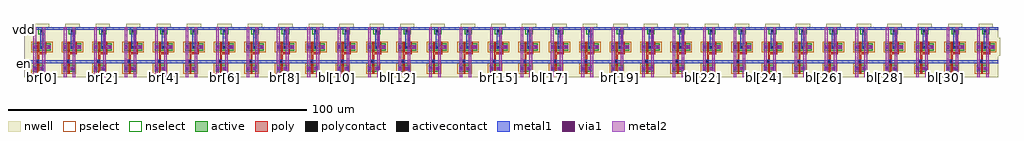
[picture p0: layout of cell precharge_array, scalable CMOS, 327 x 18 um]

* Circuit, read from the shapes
.subckt precharge_array bl[0] bl[10] bl[11] bl[12] bl[13] bl[14] bl[15] bl[16] bl[17] bl[18] bl[19] bl[1] bl[20] bl[21] bl[22] bl[23] bl[24] bl[25] bl[26] bl[27] bl[28] bl[29] bl[2] bl[30] bl[31] bl[3] bl[4] bl[5] bl[6] bl[7] bl[8] bl[9] br[0] br[10] br[11] br[12] br[13] br[14] br[15] br[16] br[17] br[18] br[19] br[1] br[20] br[21] br[22] br[23] br[24] br[25] br[26] br[27] br[28] br[29] br[2] br[30] br[31] br[3] br[4] br[5] br[6] br[7] br[8] br[9] en vdd
M1 br[0] en bl[0] vdd pfet w=2.4u l=0.6u
M2 vdd en bl[0] vdd pfet w=2.4u l=0.6u
M3 br[0] en vdd vdd pfet w=2.4u l=0.6u
M4 br[1] en bl[1] vdd pfet w=2.4u l=0.6u
M5 vdd en bl[1] vdd pfet w=2.4u l=0.6u
M6 br[1] en vdd vdd pfet w=2.4u l=0.6u
M7 br[2] en bl[2] vdd pfet w=2.4u l=0.6u
M8 vdd en bl[2] vdd pfet w=2.4u l=0.6u
M9 br[2] en vdd vdd pfet w=2.4u l=0.6u
M10 br[3] en bl[3] vdd pfet w=2.4u l=0.6u
M11 vdd en bl[3] vdd pfet w=2.4u l=0.6u
M12 br[3] en vdd vdd pfet w=2.4u l=0.6u
M13 br[4] en bl[4] vdd pfet w=2.4u l=0.6u
M14 vdd en bl[4] vdd pfet w=2.4u l=0.6u
M15 br[4] en vdd vdd pfet w=2.4u l=0.6u
M16 br[5] en bl[5] vdd pfet w=2.4u l=0.6u
M17 vdd en bl[5] vdd pfet w=2.4u l=0.6u
M18 br[5] en vdd vdd pfet w=2.4u l=0.6u
M19 br[6] en bl[6] vdd pfet w=2.4u l=0.6u
M20 vdd en bl[6] vdd pfet w=2.4u l=0.6u
M21 br[6] en vdd vdd pfet w=2.4u l=0.6u
M22 br[7] en bl[7] vdd pfet w=2.4u l=0.6u
M23 vdd en bl[7] vdd pfet w=2.4u l=0.6u
M24 br[7] en vdd vdd pfet w=2.4u l=0.6u
M25 br[8] en bl[8] vdd pfet w=2.4u l=0.6u
M26 vdd en bl[8] vdd pfet w=2.4u l=0.6u
M27 br[8] en vdd vdd pfet w=2.4u l=0.6u
M28 br[9] en bl[9] vdd pfet w=2.4u l=0.6u
M29 vdd en bl[9] vdd pfet w=2.4u l=0.6u
M30 br[9] en vdd vdd pfet w=2.4u l=0.6u
M31 br[10] en bl[10] vdd pfet w=2.4u l=0.6u
M32 vdd en bl[10] vdd pfet w=2.4u l=0.6u
M33 br[10] en vdd vdd pfet w=2.4u l=0.6u
M34 br[11] en bl[11] vdd pfet w=2.4u l=0.6u
M35 vdd en bl[11] vdd pfet w=2.4u l=0.6u
M36 br[11] en vdd vdd pfet w=2.4u l=0.6u
M37 br[12] en bl[12] vdd pfet w=2.4u l=0.6u
M38 vdd en bl[12] vdd pfet w=2.4u l=0.6u
M39 br[12] en vdd vdd pfet w=2.4u l=0.6u
M40 br[13] en bl[13] vdd pfet w=2.4u l=0.6u
M41 vdd en bl[13] vdd pfet w=2.4u l=0.6u
M42 br[13] en vdd vdd pfet w=2.4u l=0.6u
M43 br[14] en bl[14] vdd pfet w=2.4u l=0.6u
M44 vdd en bl[14] vdd pfet w=2.4u l=0.6u
M45 br[14] en vdd vdd pfet w=2.4u l=0.6u
M46 br[15] en bl[15] vdd pfet w=2.4u l=0.6u
M47 vdd en bl[15] vdd pfet w=2.4u l=0.6u
M48 br[15] en vdd vdd pfet w=2.4u l=0.6u
M49 br[16] en bl[16] vdd pfet w=2.4u l=0.6u
M50 vdd en bl[16] vdd pfet w=2.4u l=0.6u
M51 br[16] en vdd vdd pfet w=2.4u l=0.6u
M52 br[17] en bl[17] vdd pfet w=2.4u l=0.6u
M53 vdd en bl[17] vdd pfet w=2.4u l=0.6u
M54 br[17] en vdd vdd pfet w=2.4u l=0.6u
M55 br[18] en bl[18] vdd pfet w=2.4u l=0.6u
M56 vdd en bl[18] vdd pfet w=2.4u l=0.6u
M57 br[18] en vdd vdd pfet w=2.4u l=0.6u
M58 br[19] en bl[19] vdd pfet w=2.4u l=0.6u
M59 vdd en bl[19] vdd pfet w=2.4u l=0.6u
M60 br[19] en vdd vdd pfet w=2.4u l=0.6u
M61 br[20] en bl[20] vdd pfet w=2.4u l=0.6u
M62 vdd en bl[20] vdd pfet w=2.4u l=0.6u
M63 br[20] en vdd vdd pfet w=2.4u l=0.6u
M64 br[21] en bl[21] vdd pfet w=2.4u l=0.6u
M65 vdd en bl[21] vdd pfet w=2.4u l=0.6u
M66 br[21] en vdd vdd pfet w=2.4u l=0.6u
M67 br[22] en bl[22] vdd pfet w=2.4u l=0.6u
M68 vdd en bl[22] vdd pfet w=2.4u l=0.6u
M69 br[22] en vdd vdd pfet w=2.4u l=0.6u
M70 br[23] en bl[23] vdd pfet w=2.4u l=0.6u
M71 vdd en bl[23] vdd pfet w=2.4u l=0.6u
M72 br[23] en vdd vdd pfet w=2.4u l=0.6u
M73 br[24] en bl[24] vdd pfet w=2.4u l=0.6u
M74 vdd en bl[24] vdd pfet w=2.4u l=0.6u
M75 br[24] en vdd vdd pfet w=2.4u l=0.6u
M76 br[25] en bl[25] vdd pfet w=2.4u l=0.6u
M77 vdd en bl[25] vdd pfet w=2.4u l=0.6u
M78 br[25] en vdd vdd pfet w=2.4u l=0.6u
M79 br[26] en bl[26] vdd pfet w=2.4u l=0.6u
M80 vdd en bl[26] vdd pfet w=2.4u l=0.6u
M81 br[26] en vdd vdd pfet w=2.4u l=0.6u
M82 br[27] en bl[27] vdd pfet w=2.4u l=0.6u
M83 vdd en bl[27] vdd pfet w=2.4u l=0.6u
M84 br[27] en vdd vdd pfet w=2.4u l=0.6u
M85 br[28] en bl[28] vdd pfet w=2.4u l=0.6u
M86 vdd en bl[28] vdd pfet w=2.4u l=0.6u
M87 br[28] en vdd vdd pfet w=2.4u l=0.6u
M88 br[29] en bl[29] vdd pfet w=2.4u l=0.6u
M89 vdd en bl[29] vdd pfet w=2.4u l=0.6u
M90 br[29] en vdd vdd pfet w=2.4u l=0.6u
M91 br[30] en bl[30] vdd pfet w=2.4u l=0.6u
M92 vdd en bl[30] vdd pfet w=2.4u l=0.6u
M93 br[30] en vdd vdd pfet w=2.4u l=0.6u
M94 br[31] en bl[31] vdd pfet w=2.4u l=0.6u
M95 vdd en bl[31] vdd pfet w=2.4u l=0.6u
M96 br[31] en vdd vdd pfet w=2.4u l=0.6u
.ends

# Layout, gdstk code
from math import pi, radians
import gdstk
lib = gdstk.Library(unit=1e-6, precision=1e-09)
def R(c, l, rs):  # rectangles x0, y0, x1, y1
    for r in rs: c.add(gdstk.rectangle(r[:2], r[2:], *l))
nwell = (42, 0)
active = (43, 0)
pselect = (44, 0)
nselect = (45, 0)
poly = (46, 0)
polycontact = (47, 0)
activecontact = (48, 0)
metal1 = (49, 0)
via1 = (50, 0)
metal2 = (51, 0)

active_contact_metal1_1x = lib.new_cell('active_contact_metal1_1x1_pn')
R(active_contact_metal1_1x, nwell, [(-1.8,-1.8,3,3), (-1.8,-1.8,3,3)])
R(active_contact_metal1_1x, active, [(0,0,1.2,1.2), (0,0,1.2,1.2)])
R(active_contact_metal1_1x, pselect, [(-0.6,-0.6,1.8,1.8), (-0.6,-0.6,1.8,1.8)])
R(active_contact_metal1_1x, activecontact, [(0.3,0.3,0.9,0.9), (0.3,0.3,0.9,0.9)])
R(active_contact_metal1_1x, metal1, [(0,0,1.2,1.2), (0,0,1.2,1.2)])

pmos_m1_w2_4 = lib.new_cell('pmos_m1_w2_4')
R(pmos_m1_w2_4, nwell, [(-1.8,-1.8,5.4,4.2), (-1.8,-1.8,5.4,4.2)])
R(pmos_m1_w2_4, active, [(0,0,3.6,2.4), (0,0,3.6,2.4)])
R(pmos_m1_w2_4, pselect, [(-0.6,-0.6,4.2,3), (-0.6,-0.6,4.2,3)])
R(pmos_m1_w2_4, poly, [(1.5,-0.6,2.1,3), (1.5,-0.6,2.1,3), (1.5,-0.6,2.1,3), (1.5,-0.6,2.1,3)])
R(pmos_m1_w2_4, metal1, [(0,0.6,1.2,1.8), (0,0.6,1.2,1.8), (2.4,0.6,3.6,1.8), (2.4,0.6,3.6,1.8)])
pmos_m1_w2_4.add(gdstk.Reference(active_contact_metal1_1x, (0,0.6)))
pmos_m1_w2_4.add(gdstk.Reference(active_contact_metal1_1x, (2.4,0.6)))
pmos_m1_w2_4.add(gdstk.Reference(active_contact_metal1_1x, (0,0.6)))
pmos_m1_w2_4.add(gdstk.Reference(active_contact_metal1_1x, (2.4,0.6)))
pmos_m1_w2_4.add(gdstk.Label('S', (0,0.6), layer=49, texttype=0))
pmos_m1_w2_4.add(gdstk.Label('D', (2.4,0.6), layer=49, texttype=0))
pmos_m1_w2_4.add(gdstk.Label('G', (1.5,-0.6), layer=46, texttype=0))
pmos_m1_w2_4.add(gdstk.Label('S', (0,0.6), layer=49, texttype=0))
pmos_m1_w2_4.add(gdstk.Label('D', (2.4,0.6), layer=49, texttype=0))
pmos_m1_w2_4.add(gdstk.Label('G', (1.5,-0.6), layer=46, texttype=0))

poly_contact_metal1_1x1 = lib.new_cell('poly_contact_metal1_1x1')
R(poly_contact_metal1_1x1, poly, [(0,0,1.2,1.2), (0,0,1.2,1.2)])
R(poly_contact_metal1_1x1, polycontact, [(0.3,0.3,0.9,0.9), (0.3,0.3,0.9,0.9)])
R(poly_contact_metal1_1x1, metal1, [(0,0,1.2,1.2), (0,0,1.2,1.2)])

c_active_contact_metal1_1x = lib.new_cell('active_contact_metal1_1x1_nn')
R(c_active_contact_metal1_1x, nwell, [(-1.8,-1.8,3,3), (-1.8,-1.8,3,3)])
R(c_active_contact_metal1_1x, active, [(0,0,1.2,1.2), (0,0,1.2,1.2)])
R(c_active_contact_metal1_1x, nselect, [(-0.6,-0.6,1.8,1.8), (-0.6,-0.6,1.8,1.8)])
R(c_active_contact_metal1_1x, activecontact, [(0.3,0.3,0.9,0.9), (0.3,0.3,0.9,0.9)])
R(c_active_contact_metal1_1x, metal1, [(0,0,1.2,1.2), (0,0,1.2,1.2)])

metal1_via1_metal2_1x1 = lib.new_cell('metal1_via1_metal2_1x1')
R(metal1_via1_metal2_1x1, metal1, [(0,0,1.2,1.2), (0,0,1.2,1.2)])
R(metal1_via1_metal2_1x1, via1, [(0.3,0.3,0.9,0.9), (0.3,0.3,0.9,0.9)])
R(metal1_via1_metal2_1x1, metal2, [(0,0,1.2,1.2), (0,0,1.2,1.2)])

precharge = lib.new_cell('precharge')
R(precharge, nwell, [(0,0,10.2,16.8), (0,0,10.2,16.8)])
R(precharge, poly, [(4.5,1.2,5.1,8.4), (4.5,1.2,5.1,8.4), (4.5,7.8,7.5,8.4), (4.5,7.8,7.5,8.4)])
R(precharge, metal1, [(0,4.8,10.2,5.7), (0,4.8,10.2,5.7), (5.4,9.6,6.6,16.8), (5.4,9.6,6.6,16.8), (0,15.9,10.2,16.8), (0,15.9,10.2,16.8)])
R(precharge, metal2, [(3.15,0,4.05,16.8), (3.15,0,4.05,16.8), (6.15,0,7.05,16.8), (6.15,0,7.05,16.8), (3,2.4,4.2,3.6), (3,2.4,4.2,3.6), (5.4,2.4,7.05,3.6), (5.4,2.4,7.05,3.6), (3,9.6,4.2,10.8), (3,9.6,4.2,10.8), (6.15,9.6,9,10.8), (6.15,9.6,9,10.8)])
precharge.add(gdstk.Reference(pmos_m1_w2_4, (3,1.8)))
precharge.add(gdstk.Reference(pmos_m1_w2_4, (3,9)))
precharge.add(gdstk.Reference(pmos_m1_w2_4, (5.4,9)))
precharge.add(gdstk.Reference(poly_contact_metal1_1x1, (5.1,4.65), rotation=pi/2))
precharge.add(gdstk.Reference(c_active_contact_metal1_1x, (5.4,15)))
precharge.add(gdstk.Reference(metal1_via1_metal2_1x1, (3,2.4)))
precharge.add(gdstk.Reference(metal1_via1_metal2_1x1, (5.4,2.4)))
precharge.add(gdstk.Reference(metal1_via1_metal2_1x1, (3,9.6)))
precharge.add(gdstk.Reference(metal1_via1_metal2_1x1, (7.8,9.6)))
precharge.add(gdstk.Reference(pmos_m1_w2_4, (3,1.8)))
precharge.add(gdstk.Reference(pmos_m1_w2_4, (3,9)))
precharge.add(gdstk.Reference(pmos_m1_w2_4, (5.4,9)))
precharge.add(gdstk.Reference(poly_contact_metal1_1x1, (5.1,4.65), rotation=pi/2))
precharge.add(gdstk.Reference(c_active_contact_metal1_1x, (5.4,15)))
precharge.add(gdstk.Reference(metal1_via1_metal2_1x1, (3,2.4)))
precharge.add(gdstk.Reference(metal1_via1_metal2_1x1, (5.4,2.4)))
precharge.add(gdstk.Reference(metal1_via1_metal2_1x1, (3,9.6)))
precharge.add(gdstk.Reference(metal1_via1_metal2_1x1, (7.8,9.6)))
precharge.add(gdstk.Label('bl', (3.15,0), layer=51, texttype=0))
precharge.add(gdstk.Label('en', (0,4.8), layer=49, texttype=0))
precharge.add(gdstk.Label('vdd', (0,15.9), layer=49, texttype=0))
precharge.add(gdstk.Label('br', (6.15,0), layer=51, texttype=0))
precharge.add(gdstk.Label('bl', (3.15,0), layer=51, texttype=0))
precharge.add(gdstk.Label('en', (0,4.8), layer=49, texttype=0))
precharge.add(gdstk.Label('vdd', (0,15.9), layer=49, texttype=0))
precharge.add(gdstk.Label('br', (6.15,0), layer=51, texttype=0))

precharge_array = lib.new_cell('precharge_array')
R(precharge_array, metal1, [(0,4.8,326.4,5.7), (0,4.8,326.4,5.7), (0,15.9,326.4,16.8), (0,15.9,326.4,16.8)])
R(precharge_array, metal2, [(3.15,0,4.05,16.8), (3.15,0,4.05,16.8), (6.15,0,7.05,16.8), (6.15,0,7.05,16.8), (13.35,0,14.25,16.8), (13.35,0,14.25,16.8), (16.35,0,17.25,16.8), (16.35,0,17.25,16.8), (23.55,0,24.45,16.8), (23.55,0,24.45,16.8), (26.55,0,27.45,16.8), (26.55,0,27.45,16.8), (33.75,0,34.65,16.8), (33.75,0,34.65,16.8), (36.75,0,37.65,16.8), (36.75,0,37.65,16.8), (43.95,0,44.85,16.8), (43.95,0,44.85,16.8), (46.95,0,47.85,16.8), (46.95,0,47.85,16.8), (54.15,0,55.05,16.8), (54.15,0,55.05,16.8), (57.15,0,58.05,16.8), (57.15,0,58.05,16.8), (64.35,0,65.25,16.8), (64.35,0,65.25,16.8), (67.35,0,68.25,16.8), (67.35,0,68.25,16.8), (74.55,0,75.45,16.8), (74.55,0,75.45,16.8), (77.55,0,78.45,16.8), (77.55,0,78.45,16.8), (84.75,0,85.65,16.8), (84.75,0,85.65,16.8), (87.75,0,88.65,16.8), (87.75,0,88.65,16.8), (94.95,0,95.85,16.8), (94.95,0,95.85,16.8), (97.95,0,98.85,16.8), (97.95,0,98.85,16.8), (105.15,0,106.05,16.8), (105.15,0,106.05,16.8), (108.15,0,109.05,16.8), (108.15,0,109.05,16.8), (115.35,0,116.25,16.8), (115.35,0,116.25,16.8), (118.35,0,119.25,16.8), (118.35,0,119.25,16.8), (125.55,0,126.45,16.8), (125.55,0,126.45,16.8), (128.55,0,129.45,16.8), (128.55,0,129.45,16.8), (135.75,0,136.65,16.8), (135.75,0,136.65,16.8), (138.75,0,139.65,16.8), (138.75,0,139.65,16.8), (145.95,0,146.85,16.8), (145.95,0,146.85,16.8), (148.95,0,149.85,16.8), (148.95,0,149.85,16.8), (156.15,0,157.05,16.8), (156.15,0,157.05,16.8), (159.15,0,160.05,16.8), (159.15,0,160.05,16.8), (166.35,0,167.25,16.8), (166.35,0,167.25,16.8), (169.35,0,170.25,16.8), (169.35,0,170.25,16.8), (176.55,0,177.45,16.8), (176.55,0,177.45,16.8), (179.55,0,180.45,16.8), (179.55,0,180.45,16.8), (186.75,0,187.65,16.8), (186.75,0,187.65,16.8), (189.75,0,190.65,16.8), (189.75,0,190.65,16.8), (196.95,0,197.85,16.8), (196.95,0,197.85,16.8), (199.95,0,200.85,16.8), (199.95,0,200.85,16.8), (207.15,0,208.05,16.8), (207.15,0,208.05,16.8), (210.15,0,211.05,16.8), (210.15,0,211.05,16.8), (217.35,0,218.25,16.8), (217.35,0,218.25,16.8), (220.35,0,221.25,16.8), (220.35,0,221.25,16.8), (227.55,0,228.45,16.8), (227.55,0,228.45,16.8), (230.55,0,231.45,16.8), (230.55,0,231.45,16.8), (237.75,0,238.65,16.8), (237.75,0,238.65,16.8), (240.75,0,241.65,16.8), (240.75,0,241.65,16.8), (247.95,0,248.85,16.8), (247.95,0,248.85,16.8), (250.95,0,251.85,16.8), (250.95,0,251.85,16.8), (258.15,0,259.05,16.8), (258.15,0,259.05,16.8), (261.15,0,262.05,16.8), (261.15,0,262.05,16.8), (268.35,0,269.25,16.8), (268.35,0,269.25,16.8), (271.35,0,272.25,16.8), (271.35,0,272.25,16.8), (278.55,0,279.45,16.8), (278.55,0,279.45,16.8), (281.55,0,282.45,16.8), (281.55,0,282.45,16.8), (288.75,0,289.65,16.8), (288.75,0,289.65,16.8), (291.75,0,292.65,16.8), (291.75,0,292.65,16.8), (298.95,0,299.85,16.8), (298.95,0,299.85,16.8), (301.95,0,302.85,16.8), (301.95,0,302.85,16.8), (309.15,0,310.05,16.8), (309.15,0,310.05,16.8), (312.15,0,313.05,16.8), (312.15,0,313.05,16.8), (319.35,0,320.25,16.8), (319.35,0,320.25,16.8), (322.35,0,323.25,16.8), (322.35,0,323.25,16.8)])
precharge_array.add(gdstk.Reference(precharge, (0,0)))
precharge_array.add(gdstk.Reference(precharge, (10.2,0)))
precharge_array.add(gdstk.Reference(precharge, (20.4,0)))
precharge_array.add(gdstk.Reference(precharge, (30.6,0)))
precharge_array.add(gdstk.Reference(precharge, (40.8,0)))
precharge_array.add(gdstk.Reference(precharge, (51,0)))
precharge_array.add(gdstk.Reference(precharge, (61.2,0)))
precharge_array.add(gdstk.Reference(precharge, (71.4,0)))
precharge_array.add(gdstk.Reference(precharge, (81.6,0)))
precharge_array.add(gdstk.Reference(precharge, (91.8,0)))
precharge_array.add(gdstk.Reference(precharge, (102,0)))
precharge_array.add(gdstk.Reference(precharge, (112.2,0)))
precharge_array.add(gdstk.Reference(precharge, (122.4,0)))
precharge_array.add(gdstk.Reference(precharge, (132.6,0)))
precharge_array.add(gdstk.Reference(precharge, (142.8,0)))
precharge_array.add(gdstk.Reference(precharge, (153,0)))
precharge_array.add(gdstk.Reference(precharge, (163.2,0)))
precharge_array.add(gdstk.Reference(precharge, (173.4,0)))
precharge_array.add(gdstk.Reference(precharge, (183.6,0)))
precharge_array.add(gdstk.Reference(precharge, (193.8,0)))
precharge_array.add(gdstk.Reference(precharge, (204,0)))
precharge_array.add(gdstk.Reference(precharge, (214.2,0)))
precharge_array.add(gdstk.Reference(precharge, (224.4,0)))
precharge_array.add(gdstk.Reference(precharge, (234.6,0)))
precharge_array.add(gdstk.Reference(precharge, (244.8,0)))
precharge_array.add(gdstk.Reference(precharge, (255,0)))
precharge_array.add(gdstk.Reference(precharge, (265.2,0)))
precharge_array.add(gdstk.Reference(precharge, (275.4,0)))
precharge_array.add(gdstk.Reference(precharge, (285.6,0)))
precharge_array.add(gdstk.Reference(precharge, (295.8,0)))
precharge_array.add(gdstk.Reference(precharge, (306,0)))
precharge_array.add(gdstk.Reference(precharge, (316.2,0)))
precharge_array.add(gdstk.Reference(precharge, (0,0)))
precharge_array.add(gdstk.Reference(precharge, (10.2,0)))
precharge_array.add(gdstk.Reference(precharge, (20.4,0)))
precharge_array.add(gdstk.Reference(precharge, (30.6,0)))
precharge_array.add(gdstk.Reference(precharge, (40.8,0)))
precharge_array.add(gdstk.Reference(precharge, (51,0)))
precharge_array.add(gdstk.Reference(precharge, (61.2,0)))
precharge_array.add(gdstk.Reference(precharge, (71.4,0)))
precharge_array.add(gdstk.Reference(precharge, (81.6,0)))
precharge_array.add(gdstk.Reference(precharge, (91.8,0)))
precharge_array.add(gdstk.Reference(precharge, (102,0)))
precharge_array.add(gdstk.Reference(precharge, (112.2,0)))
precharge_array.add(gdstk.Reference(precharge, (122.4,0)))
precharge_array.add(gdstk.Reference(precharge, (132.6,0)))
precharge_array.add(gdstk.Reference(precharge, (142.8,0)))
precharge_array.add(gdstk.Reference(precharge, (153,0)))
precharge_array.add(gdstk.Reference(precharge, (163.2,0)))
precharge_array.add(gdstk.Reference(precharge, (173.4,0)))
precharge_array.add(gdstk.Reference(precharge, (183.6,0)))
precharge_array.add(gdstk.Reference(precharge, (193.8,0)))
precharge_array.add(gdstk.Reference(precharge, (204,0)))
precharge_array.add(gdstk.Reference(precharge, (214.2,0)))
precharge_array.add(gdstk.Reference(precharge, (224.4,0)))
precharge_array.add(gdstk.Reference(precharge, (234.6,0)))
precharge_array.add(gdstk.Reference(precharge, (244.8,0)))
precharge_array.add(gdstk.Reference(precharge, (255,0)))
precharge_array.add(gdstk.Reference(precharge, (265.2,0)))
precharge_array.add(gdstk.Reference(precharge, (275.4,0)))
precharge_array.add(gdstk.Reference(precharge, (285.6,0)))
precharge_array.add(gdstk.Reference(precharge, (295.8,0)))
precharge_array.add(gdstk.Reference(precharge, (306,0)))
precharge_array.add(gdstk.Reference(precharge, (316.2,0)))
precharge_array.add(gdstk.Label('bl[12]', (125.55,0), layer=51, texttype=0))
precharge_array.add(gdstk.Label('br[19]', (199.95,0), layer=51, texttype=0))
precharge_array.add(gdstk.Label('bl[10]', (105.15,0), layer=51, texttype=0))
precharge_array.add(gdstk.Label('bl[17]', (176.55,0), layer=51, texttype=0))
precharge_array.add(gdstk.Label('br[11]', (118.35,0), layer=51, texttype=0))
precharge_array.add(gdstk.Label('bl[30]', (309.15,0), layer=51, texttype=0))
precharge_array.add(gdstk.Label('br[2]', (26.55,0), layer=51, texttype=0))
precharge_array.add(gdstk.Label('bl[20]', (207.15,0), layer=51, texttype=0))
precharge_array.add(gdstk.Label('br[6]', (67.35,0), layer=51, texttype=0))
precharge_array.add(gdstk.Label('bl[24]', (247.95,0), layer=51, texttype=0))
precharge_array.add(gdstk.Label('en', (0,4.8), layer=49, texttype=0))
precharge_array.add(gdstk.Label('bl[22]', (227.55,0), layer=51, texttype=0))
precharge_array.add(gdstk.Label('br[0]', (6.15,0), layer=51, texttype=0))
precharge_array.add(gdstk.Label('bl[26]', (268.35,0), layer=51, texttype=0))
precharge_array.add(gdstk.Label('bl[2]', (23.55,0), layer=51, texttype=0))
precharge_array.add(gdstk.Label('bl[18]', (186.75,0), layer=51, texttype=0))
precharge_array.add(gdstk.Label('br[29]', (301.95,0), layer=51, texttype=0))
precharge_array.add(gdstk.Label('br[15]', (159.15,0), layer=51, texttype=0))
precharge_array.add(gdstk.Label('bl[1]', (13.35,0), layer=51, texttype=0))
precharge_array.add(gdstk.Label('br[4]', (46.95,0), layer=51, texttype=0))
precharge_array.add(gdstk.Label('br[13]', (138.75,0), layer=51, texttype=0))
precharge_array.add(gdstk.Label('br[27]', (281.55,0), layer=51, texttype=0))
precharge_array.add(gdstk.Label('br[17]', (179.55,0), layer=51, texttype=0))
precharge_array.add(gdstk.Label('bl[3]', (33.75,0), layer=51, texttype=0))
precharge_array.add(gdstk.Label('br[22]', (230.55,0), layer=51, texttype=0))
precharge_array.add(gdstk.Label('bl[7]', (74.55,0), layer=51, texttype=0))
precharge_array.add(gdstk.Label('bl[14]', (145.95,0), layer=51, texttype=0))
precharge_array.add(gdstk.Label('br[26]', (271.35,0), layer=51, texttype=0))
precharge_array.add(gdstk.Label('br[14]', (148.95,0), layer=51, texttype=0))
precharge_array.add(gdstk.Label('br[20]', (210.15,0), layer=51, texttype=0))
precharge_array.add(gdstk.Label('bl[5]', (54.15,0), layer=51, texttype=0))
precharge_array.add(gdstk.Label('br[24]', (250.95,0), layer=51, texttype=0))
precharge_array.add(gdstk.Label('bl[9]', (94.95,0), layer=51, texttype=0))
precharge_array.add(gdstk.Label('br[30]', (312.15,0), layer=51, texttype=0))
precharge_array.add(gdstk.Label('br[8]', (87.75,0), layer=51, texttype=0))
precharge_array.add(gdstk.Label('bl[13]', (135.75,0), layer=51, texttype=0))
precharge_array.add(gdstk.Label('bl[28]', (288.75,0), layer=51, texttype=0))
precharge_array.add(gdstk.Label('br[18]', (189.75,0), layer=51, texttype=0))
precharge_array.add(gdstk.Label('bl[21]', (217.35,0), layer=51, texttype=0))
precharge_array.add(gdstk.Label('br[3]', (36.75,0), layer=51, texttype=0))
precharge_array.add(gdstk.Label('bl[19]', (196.95,0), layer=51, texttype=0))
precharge_array.add(gdstk.Label('br[1]', (16.35,0), layer=51, texttype=0))
precharge_array.add(gdstk.Label('bl[23]', (237.75,0), layer=51, texttype=0))
precharge_array.add(gdstk.Label('br[5]', (57.15,0), layer=51, texttype=0))
precharge_array.add(gdstk.Label('bl[27]', (278.55,0), layer=51, texttype=0))
precharge_array.add(gdstk.Label('br[28]', (291.75,0), layer=51, texttype=0))
precharge_array.add(gdstk.Label('bl[25]', (258.15,0), layer=51, texttype=0))
precharge_array.add(gdstk.Label('br[7]', (77.55,0), layer=51, texttype=0))
precharge_array.add(gdstk.Label('br[12]', (128.55,0), layer=51, texttype=0))
precharge_array.add(gdstk.Label('br[25]', (261.15,0), layer=51, texttype=0))
precharge_array.add(gdstk.Label('bl[0]', (3.15,0), layer=51, texttype=0))
precharge_array.add(gdstk.Label('br[23]', (240.75,0), layer=51, texttype=0))
precharge_array.add(gdstk.Label('bl[4]', (43.95,0), layer=51, texttype=0))
precharge_array.add(gdstk.Label('br[10]', (108.15,0), layer=51, texttype=0))
precharge_array.add(gdstk.Label('bl[29]', (298.95,0), layer=51, texttype=0))
precharge_array.add(gdstk.Label('br[31]', (322.35,0), layer=51, texttype=0))
precharge_array.add(gdstk.Label('bl[6]', (64.35,0), layer=51, texttype=0))
precharge_array.add(gdstk.Label('br[16]', (169.35,0), layer=51, texttype=0))
precharge_array.add(gdstk.Label('bl[15]', (156.15,0), layer=51, texttype=0))
precharge_array.add(gdstk.Label('br[21]', (220.35,0), layer=51, texttype=0))
precharge_array.add(gdstk.Label('vdd', (0,15.9), layer=49, texttype=0))
precharge_array.add(gdstk.Label('bl[31]', (319.35,0), layer=51, texttype=0))
precharge_array.add(gdstk.Label('bl[11]', (115.35,0), layer=51, texttype=0))
precharge_array.add(gdstk.Label('bl[16]', (166.35,0), layer=51, texttype=0))
precharge_array.add(gdstk.Label('br[9]', (97.95,0), layer=51, texttype=0))
precharge_array.add(gdstk.Label('bl[8]', (84.75,0), layer=51, texttype=0))
precharge_array.add(gdstk.Label('bl[12]', (125.55,0), layer=51, texttype=0))
precharge_array.add(gdstk.Label('br[19]', (199.95,0), layer=51, texttype=0))
precharge_array.add(gdstk.Label('bl[10]', (105.15,0), layer=51, texttype=0))
precharge_array.add(gdstk.Label('bl[17]', (176.55,0), layer=51, texttype=0))
precharge_array.add(gdstk.Label('br[11]', (118.35,0), layer=51, texttype=0))
precharge_array.add(gdstk.Label('bl[30]', (309.15,0), layer=51, texttype=0))
precharge_array.add(gdstk.Label('br[2]', (26.55,0), layer=51, texttype=0))
precharge_array.add(gdstk.Label('bl[20]', (207.15,0), layer=51, texttype=0))
precharge_array.add(gdstk.Label('br[6]', (67.35,0), layer=51, texttype=0))
precharge_array.add(gdstk.Label('bl[24]', (247.95,0), layer=51, texttype=0))
precharge_array.add(gdstk.Label('en', (0,4.8), layer=49, texttype=0))
precharge_array.add(gdstk.Label('bl[22]', (227.55,0), layer=51, texttype=0))
precharge_array.add(gdstk.Label('br[0]', (6.15,0), layer=51, texttype=0))
precharge_array.add(gdstk.Label('bl[26]', (268.35,0), layer=51, texttype=0))
precharge_array.add(gdstk.Label('bl[2]', (23.55,0), layer=51, texttype=0))
precharge_array.add(gdstk.Label('bl[18]', (186.75,0), layer=51, texttype=0))
precharge_array.add(gdstk.Label('br[29]', (301.95,0), layer=51, texttype=0))
precharge_array.add(gdstk.Label('br[15]', (159.15,0), layer=51, texttype=0))
precharge_array.add(gdstk.Label('bl[1]', (13.35,0), layer=51, texttype=0))
precharge_array.add(gdstk.Label('br[4]', (46.95,0), layer=51, texttype=0))
precharge_array.add(gdstk.Label('br[13]', (138.75,0), layer=51, texttype=0))
precharge_array.add(gdstk.Label('br[27]', (281.55,0), layer=51, texttype=0))
precharge_array.add(gdstk.Label('br[17]', (179.55,0), layer=51, texttype=0))
precharge_array.add(gdstk.Label('bl[3]', (33.75,0), layer=51, texttype=0))
precharge_array.add(gdstk.Label('br[22]', (230.55,0), layer=51, texttype=0))
precharge_array.add(gdstk.Label('bl[7]', (74.55,0), layer=51, texttype=0))
precharge_array.add(gdstk.Label('bl[14]', (145.95,0), layer=51, texttype=0))
precharge_array.add(gdstk.Label('br[26]', (271.35,0), layer=51, texttype=0))
precharge_array.add(gdstk.Label('br[14]', (148.95,0), layer=51, texttype=0))
precharge_array.add(gdstk.Label('br[20]', (210.15,0), layer=51, texttype=0))
precharge_array.add(gdstk.Label('bl[5]', (54.15,0), layer=51, texttype=0))
precharge_array.add(gdstk.Label('br[24]', (250.95,0), layer=51, texttype=0))
precharge_array.add(gdstk.Label('bl[9]', (94.95,0), layer=51, texttype=0))
precharge_array.add(gdstk.Label('br[30]', (312.15,0), layer=51, texttype=0))
precharge_array.add(gdstk.Label('br[8]', (87.75,0), layer=51, texttype=0))
precharge_array.add(gdstk.Label('bl[13]', (135.75,0), layer=51, texttype=0))
precharge_array.add(gdstk.Label('bl[28]', (288.75,0), layer=51, texttype=0))
precharge_array.add(gdstk.Label('br[18]', (189.75,0), layer=51, texttype=0))
precharge_array.add(gdstk.Label('bl[21]', (217.35,0), layer=51, texttype=0))
precharge_array.add(gdstk.Label('br[3]', (36.75,0), layer=51, texttype=0))
precharge_array.add(gdstk.Label('bl[19]', (196.95,0), layer=51, texttype=0))
precharge_array.add(gdstk.Label('br[1]', (16.35,0), layer=51, texttype=0))
precharge_array.add(gdstk.Label('bl[23]', (237.75,0), layer=51, texttype=0))
precharge_array.add(gdstk.Label('br[5]', (57.15,0), layer=51, texttype=0))
precharge_array.add(gdstk.Label('bl[27]', (278.55,0), layer=51, texttype=0))
precharge_array.add(gdstk.Label('br[28]', (291.75,0), layer=51, texttype=0))
precharge_array.add(gdstk.Label('bl[25]', (258.15,0), layer=51, texttype=0))
precharge_array.add(gdstk.Label('br[7]', (77.55,0), layer=51, texttype=0))
precharge_array.add(gdstk.Label('br[12]', (128.55,0), layer=51, texttype=0))
precharge_array.add(gdstk.Label('br[25]', (261.15,0), layer=51, texttype=0))
precharge_array.add(gdstk.Label('bl[0]', (3.15,0), layer=51, texttype=0))
precharge_array.add(gdstk.Label('br[23]', (240.75,0), layer=51, texttype=0))
precharge_array.add(gdstk.Label('bl[4]', (43.95,0), layer=51, texttype=0))
precharge_array.add(gdstk.Label('br[10]', (108.15,0), layer=51, texttype=0))
precharge_array.add(gdstk.Label('bl[29]', (298.95,0), layer=51, texttype=0))
precharge_array.add(gdstk.Label('br[31]', (322.35,0), layer=51, texttype=0))
precharge_array.add(gdstk.Label('bl[6]', (64.35,0), layer=51, texttype=0))
precharge_array.add(gdstk.Label('br[16]', (169.35,0), layer=51, texttype=0))
precharge_array.add(gdstk.Label('bl[15]', (156.15,0), layer=51, texttype=0))
precharge_array.add(gdstk.Label('br[21]', (220.35,0), layer=51, texttype=0))
precharge_array.add(gdstk.Label('vdd', (0,15.9), layer=49, texttype=0))
precharge_array.add(gdstk.Label('bl[31]', (319.35,0), layer=51, texttype=0))
precharge_array.add(gdstk.Label('bl[11]', (115.35,0), layer=51, texttype=0))
precharge_array.add(gdstk.Label('bl[16]', (166.35,0), layer=51, texttype=0))
precharge_array.add(gdstk.Label('br[9]', (97.95,0), layer=51, texttype=0))
precharge_array.add(gdstk.Label('bl[8]', (84.75,0), layer=51, texttype=0))

lib.write_gds('precharge_array.gds')
